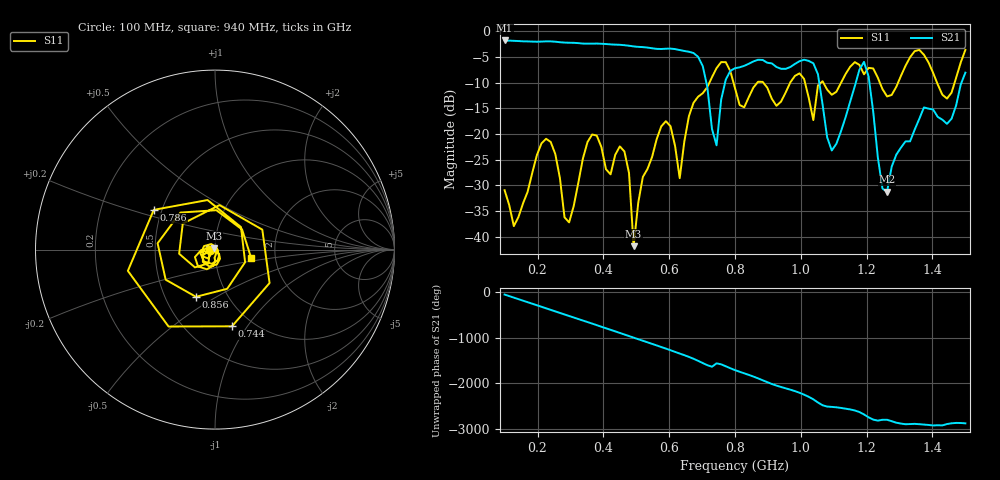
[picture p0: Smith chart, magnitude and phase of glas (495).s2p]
! NanoVNA-App
! Date: 2025-09-25 15:59:19
! Start: 100MHz Stop: 1,5GHz Points: 101
! S-Parameter data: F S11 S21 S12 S22
# Hz S RI R 50
!  Frequency  S11_Real  S11_Imag  S21_Real  S21_Imag  S12_Real  S12_Imag  S22_Real  S22_Imag
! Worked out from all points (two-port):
!   101 points, 100 MHz to 1.5 GHz, reference 50 ohm
!   highest |S21| = -1.80 dB at 100 MHz (marker M1); lowest = -31.2 dB at 1.262 GHz (marker M2)
!   |S21| within 3 dB of the highest: start of sweep to 684.4 MHz
!   lowest |S11| = -41.8 dB at 492 MHz (marker M3), VSWR 1.02, Z = 49.5 + j0.626 ohm
!   |S11| at or under -10 dB: start of sweep to 722.4 MHz; 795.4 MHz to 868 MHz (72.66 MHz wide, 8.74 % of centre); 885.9 MHz to 967.7 MHz (81.89 MHz wide, 8.84 % of centre) (the widest 3 of 7)
!   S12 and S22 are empty: the file has one direction only
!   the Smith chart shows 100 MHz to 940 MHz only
!   S11 on the Smith chart (normalised r, x): 100 MHz: 0.95, -0.01; 744 MHz: 0.81, -0.85; 786 MHz: 0.45, +0.24; 856 MHz: 0.71, -0.41; 940 MHz: 1.50, -0.15
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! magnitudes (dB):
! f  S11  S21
! 100 MHz  -30.9  -1.8
! 128 MHz  -37.9  -1.9
! 226 MHz  -20.9  -2.0
! 296 MHz  -37.2  -2.2
! 338 MHz  -24.7  -2.4
! 464 MHz  -23.4  -2.7
! 492 MHz  -41.8  -3.0
! 576 MHz  -18.5  -3.5
! 632 MHz  -28.6  -3.7
! 702 MHz  -12.1  -6.8
! 744 MHz  -7.2  -22.2
! 786 MHz  -7.8  -7.7
! 800 MHz  -11.1  -7.2
! 856 MHz  -10.9  -5.9
! 940 MHz  -13.7  -7.3
! 996 MHz  -8.2  -5.8
! 1.038 GHz  -17.3  -6.2
! 1.094 GHz  -12.4  -23.2
! 1.192 GHz  -8.4  -6.0
! 1.262 GHz  -12.7  -31.2
! 1.276 GHz  -12.4  -26.4
! 1.5 GHz  -3.6  -8.1
